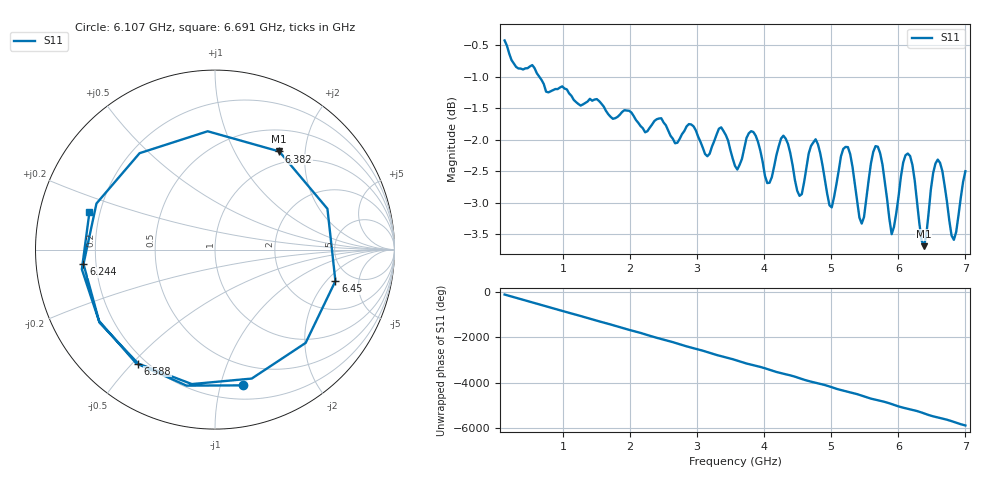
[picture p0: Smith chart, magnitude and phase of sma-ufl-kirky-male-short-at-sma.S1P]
! C:\Users\sebas\Desktop\sma-ufl-kirky-male-short-at-sma.S1P
! Touchstone 1.1 file saved by VNA.EXE V1.65 (www.ke5fx.com/gpib/readme.htm)
! 20.02.2024 21:19:18
!  Source: HEWLETT PACKARD,8720A,0,1.01
!  Min freq: 1.300000E+008 Hz
!  Max freq: 7.000000E+009 Hz
!  Points: 201
!  Params: S22
# GHZ S MA R 50
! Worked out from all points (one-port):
!   201 points, 130 MHz to 7 GHz, reference 50 ohm
!   lowest |S11| = -3.7 dB at 6.382 GHz (marker M1), VSWR 4.77, Z = 40.3 + j76.9 ohm
!   |S11| at or under -10 dB: nowhere
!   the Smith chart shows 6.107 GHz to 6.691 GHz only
!   S11 on the Smith chart (normalised r, x): 6.107 GHz: 0.31, -1.17; 6.244 GHz: 0.15, -0.05; 6.382 GHz: 0.81, +1.54; 6.45 GHz: 3.73, -2.52; 6.588 GHz: 0.17, -0.52; 6.691 GHz: 0.16, +0.14
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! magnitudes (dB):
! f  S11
! 130 MHz  -0.4
! 988.8 MHz  -1.2
! 1.847 GHz  -1.6
! 2.706 GHz  -2.0
! 3.153 GHz  -2.3
! 3.359 GHz  -1.8
! 3.565 GHz  -2.4
! 3.805 GHz  -1.9
! 4.046 GHz  -2.7
! 4.286 GHz  -1.9
! 4.424 GHz  -2.4
! 4.561 GHz  -2.9
! 4.767 GHz  -2.0
! 5.008 GHz  -3.1
! 5.179 GHz  -2.1
! 5.282 GHz  -2.2
! 5.454 GHz  -3.3
! 5.695 GHz  -2.1
! 5.901 GHz  -3.5
! 6.107 GHz  -2.2
! 6.141 GHz  -2.2
! 6.244 GHz  -2.6
! 6.382 GHz  -3.7
! 6.45 GHz  -3.2
! 6.588 GHz  -2.3
! 6.691 GHz  -2.7
! 6.828 GHz  -3.6
! 7 GHz  -2.5
